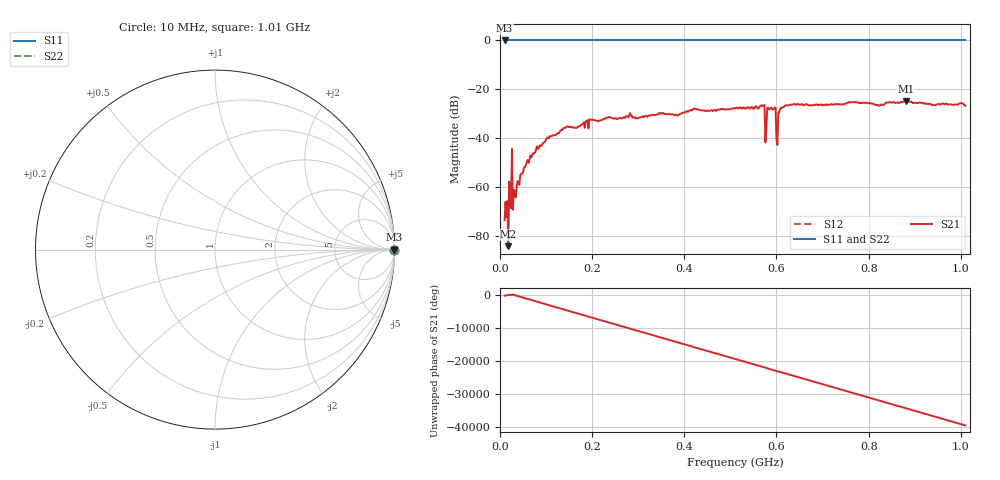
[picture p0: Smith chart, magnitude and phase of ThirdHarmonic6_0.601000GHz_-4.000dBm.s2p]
! 8/15/2025 7:36:14 PM
! C:\ANRITSUVNA\TEMP\TEMP.S2P
! CHANNEL.1
! TR.MEASUREMENT
! RAW.DATA
! RF.CORRECTION.OFF
! AVERAGING.OFF
! IF.BANDWIDTH: 5KHZ
! SWEEPTYPE:  FREQ.SWEEP(Linear)
! Reference Plane Port Info
! PORT:  PORT1  PORT2
! DISTANCE:  0  m  0  m
! TIME:  0  s  0  s
! PHASE.OFFSET:  0  deg.  0  deg.
! LOSS:  0  dB  0  dB
! REF.LOSS:  0  dB  0  dB
! REF.FREQ:  0  Hz  0  Hz
! Power Info
! POWER:  -20  dBm  -20  dBm
! EFF.POWER:  -20  dBm  -20  dBm
! SOURCE.ATTEN:  0  dB  0  dB
! TEST.ATTEN:  0  dB  0  dB
# GHZ S RI R 50.0
! FREQ.GHZ  S11RE  S11IM  S21RE  S21IM  S12RE  S12IM  S22RE  S22IM
!; PortSelection: Port_12
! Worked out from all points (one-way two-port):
!   501 points, 10 MHz to 1.01 GHz, reference 50 ohm
!   highest |S21| = -24.77 dB at 882 MHz (marker M1); lowest = -84.3 dB at 18 MHz (marker M2)
!   lowest |S11| = 0.0 dB at 10 MHz (marker M3)
!   |S11| at or under -10 dB: nowhere
!   |S22| runs from 0.0 to 0.0 dB; largest |S21 - S12| = 1.1
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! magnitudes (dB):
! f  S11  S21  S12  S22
! 10 MHz  0.0  -73.6  0.0  0.0
! 18 MHz  0.0  -84.3  0.0  0.0
! 24 MHz  0.0  -68.7  0.0  0.0
! 32 MHz  0.0  -61.7  0.0  0.0
! 56 MHz  0.0  -51.0  0.0  0.0
! 82 MHz  0.0  -44.4  0.0  0.0
! 178 MHz  0.0  -34.5  0.0  0.0
! 344 MHz  0.0  -30.3  0.0  0.0
! 510 MHz  0.0  -27.7  0.0  0.0
! 570 MHz  0.0  -26.8  0.0  0.0
! 574 MHz  0.0  -26.5  0.0  0.0
! 580 MHz  0.0  -27.6  0.0  0.0
! 584 MHz  0.0  -28.3  0.0  0.0
! 594 MHz  0.0  -28.0  0.0  0.0
! 598 MHz  0.0  -27.5  0.0  0.0
! 604 MHz  0.0  -29.4  0.0  0.0
! 608 MHz  0.0  -28.4  0.0  0.0
! 614 MHz  0.0  -27.4  0.0  0.0
! 678 MHz  0.0  -26.6  0.0  0.0
! 844 MHz  0.0  -25.3  0.0  0.0
! 882 MHz  0.0  -24.8  0.0  0.0
! 1.01 GHz  0.0  -26.8  0.0  0.0
